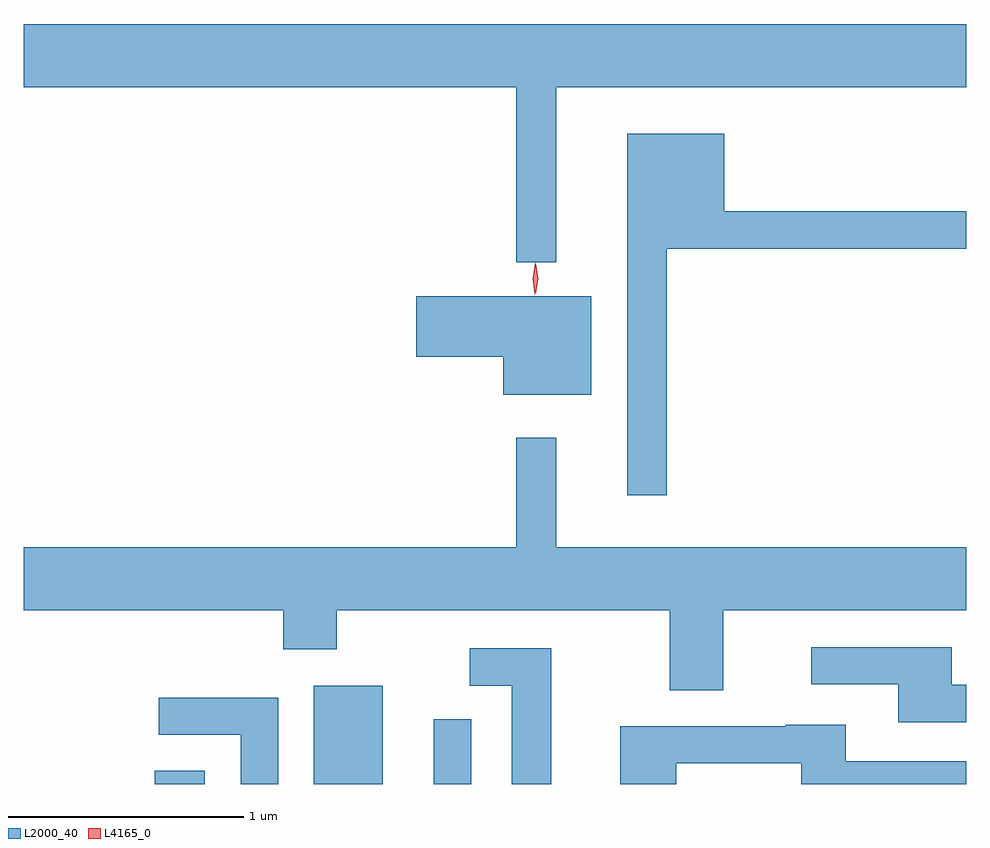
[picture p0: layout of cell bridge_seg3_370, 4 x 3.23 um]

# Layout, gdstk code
import gdstk
lib = gdstk.Library(unit=1e-6, precision=1e-09)
def R(c, l, rs):  # rectangles x0, y0, x1, y1
    for r in rs: c.add(gdstk.rectangle(r[:2], r[2:], *l))
def P(c, l, *ps):  # polygons
    for p in ps: c.add(gdstk.Polygon(p, *l))
L2000_40 = (2000, 40)
L4165_0 = (4165, 0)

bridge_seg3_370 = lib.new_cell('bridge_seg3_370')
R(bridge_seg3_370, L2000_40, [(561.246,1143.038,561.459,1143.094), (561.921,1143.038,562.214,1143.454), (562.431,1143.038,562.589,1143.313)])
P(bridge_seg3_370, L2000_40, [(562.949,1145.996),(564.69,1145.996),(564.69,1146.264),(560.69,1146.264),(560.69,1145.996),(562.781,1145.996),(562.781,1145.253),(562.949,1145.253)],
  [(563.419,1145.311),(564.69,1145.311),(564.69,1145.469),(563.664,1145.469),(563.664,1145.799),(563.251,1145.799),(563.251,1144.263),(563.419,1144.263)],
  [(563.099,1145.109),(562.356,1145.109),(562.356,1144.851),(562.726,1144.851),(562.726,1144.691),(563.099,1144.691)],
  [(563.659,1143.776),(564.69,1143.776),(564.69,1144.044),(562.949,1144.044),(562.949,1144.508),(562.781,1144.508),(562.781,1144.044),(560.69,1144.044),(560.69,1143.776),(561.791,1143.776),(561.791,1143.611),(562.019,1143.611),(562.019,1143.776),(563.431,1143.776),(563.431,1143.436),(563.659,1143.436)],
  [(564.69,1143.459),(564.629,1143.459),(564.629,1143.619),(564.033,1143.619),(564.033,1143.461),(564.401,1143.461),(564.401,1143.301),(564.69,1143.301)],
  [(562.929,1143.614),(562.583,1143.614),(562.583,1143.456),(562.761,1143.456),(562.761,1143.038),(562.929,1143.038)],
  [(561.769,1143.404),(561.263,1143.404),(561.263,1143.246),(561.611,1143.246),(561.611,1143.038),(561.769,1143.038)],
  [(563.459,1143.126),(563.991,1143.126),(563.991,1143.038),(564.69,1143.038),(564.69,1143.134),(564.179,1143.134),(564.179,1143.289),(563.925,1143.289),(563.925,1143.284),(563.221,1143.284),(563.221,1143.038),(563.459,1143.038)])
P(bridge_seg3_370, L4165_0, [(562.862,1145.12),(562.853,1145.184),(562.862,1145.246),(562.863,1145.247),(562.863,1145.246),(562.873,1145.184),(562.863,1145.12),(562.863,1145.12)],
  [(562.858,1145.114),(562.85,1145.182),(562.86,1145.25),(562.86,1145.25),(562.861,1145.25),(562.87,1145.182),(562.859,1145.114),(562.859,1145.114)])

lib.write_gds('bridge_seg3_370.gds')
